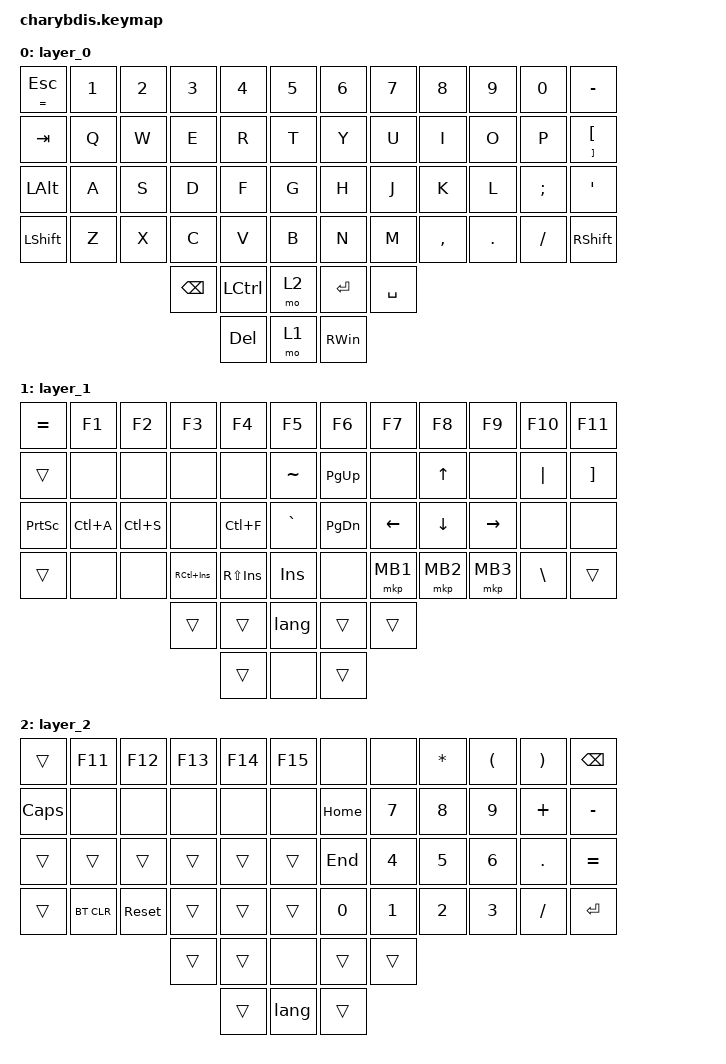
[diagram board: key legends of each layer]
#include <dt-bindings/zmk/mouse.h>
#include <behaviors.dtsi>
#include <dt-bindings/zmk/bt.h>
#include <dt-bindings/zmk/keys.h>
#include <dt-bindings/zmk/pointing.h>

&lt {
    tapping-term-ms = <200>;
    flavor = "balanced";
    quick-tap-ms = <150>;
};

&mt { flavor = "tap-preferred"; };

/ {
    combos { compatible = "zmk,combos"; };

    macros {
        lang: lang {
            compatible = "zmk,behavior-macro";
            #binding-cells = <0>;
            wait-ms = <30>;
            bindings =
                <&macro_press>,
                <&kp LCTRL>,
                <&kp LSHFT>,
                <&macro_release>,
                <&kp LSHFT>,
                <&kp LCTRL>;

            label = "LANG";
        };
    };

    keymap {
        compatible = "zmk,keymap";

        layer_0 {
            bindings = <
&mt EQUAL ESC  &kp N1  &kp N2  &kp N3         &kp N4     &kp N5    &kp N6         &kp N7     &kp N8     &kp N9      &kp N0    &kp MINUS
&kp TAB        &kp Q   &kp W   &kp E          &kp R      &kp T     &kp Y          &kp U      &kp I      &kp O       &kp P     &mt RIGHT_BRACKET LEFT_BRACKET
&kp LEFT_ALT   &kp A   &kp S   &kp D          &kp F      &kp G     &kp H          &kp J      &kp K      &kp L       &kp SEMI  &kp SQT
&kp LSHFT      &kp Z   &kp X   &kp C          &kp V      &kp B     &kp N          &kp M      &kp COMMA  &kp PERIOD  &kp FSLH  &kp RSHFT
                               &kp BACKSPACE  &kp LCTRL  &mo 2     &kp ENTER      &kp SPACE
                                              &kp DEL    &mo 1     &kp RIGHT_WIN
            >;
        };

        layer_1 {
            bindings = <
&kp EQUAL        &kp F1     &kp F2     &kp F3          &kp F4          &kp F5       &kp F6         &kp F7    &kp F8    &kp F9     &kp F10   &kp F11
&trans           &none      &none      &none           &none           &kp TILDE    &kp PG_UP      &none     &kp UP    &none      &kp PIPE  &kp RIGHT_BRACKET
&kp PRINTSCREEN  &kp LC(A)  &kp LC(S)  &none           &kp LC(F)       &kp GRAVE    &kp PAGE_DOWN  &kp LEFT  &kp DOWN  &kp RIGHT  &none     &none
&trans           &none      &none      &kp RC(INSERT)  &kp RS(INSERT)  &kp INS      &none          &mkp MB1  &mkp MB2  &mkp MB3   &kp BSLH  &trans
                                       &trans          &trans          &lang        &trans         &trans
                                                       &trans          &none        &trans
            >;
        };

        layer_2 {
            bindings = <
&trans    &kp F11     &kp F12     &kp F13  &kp F14  &kp F15    &none     &none   &kp ASTERISK  &kp LEFT_PARENTHESIS  &kp RIGHT_PARENTHESIS  &kp BACKSPACE
&kp CAPS  &none       &none       &none    &none    &none      &kp HOME  &kp N7  &kp N8        &kp N9                &kp PLUS               &kp MINUS
&trans    &trans      &trans      &trans   &trans   &trans     &kp END   &kp N4  &kp N5        &kp N6                &kp PERIOD             &kp EQUAL
&trans    &bt BT_CLR  &sys_reset  &trans   &trans   &trans     &kp N0    &kp N1  &kp N2        &kp N3                &kp SLASH              &kp ENTER
                                  &trans   &trans   &none      &trans    &trans
                                           &trans   &lang      &trans
            >;
        };

        /* layer_2 {
            bindings = <
&none  &none   &none    &none   &none         &none         &kp N1         &none         &none     &none  &none   &to 0
&none  &none   &none    &none   &none         &none         &none         &none          &rgb_ug RGB_BRD &rgb_ug RGB_BRI  &rgb_ug RGB_EFF   &rgb_ug RGB_TOG
&none  &none   &none    &none   &none         &none         &none         &mkp LCLK     &mkp RCLK  &none  &none   &none
&none  &none   &none    &none   &bt BT_NXT  &bt BT_CLR    &none         &none         &none     &none  &none   &none
                                   &none         &none         &none         &none         &none
                                                 &none         &none         &none
            >;
          trackball-bindings = <&tsl>;
            
        };

       Mouse {
            bindings = <
&none        &none         &none         &none         &none      &none         &none       &none      &none         &none         &none         &none
&none        &bt BT_SEL 0  &bt BT_SEL 1  &bt BT_SEL 3  &none      &bt BT_CLR    &bt BT_CLR  &none      &bt BT_SEL 2  &bt BT_SEL 1  &bt BT_SEL 0  &none
&none        &trans        &trans        &mkp MCLK     &trans     &none         &none       &trans     &mkp MCLK     &trans        &trans        &none
&bootloader  &trans        &mkp RCLK     &mo 4         &mkp LCLK  &mo 5         &mo 5       &mkp LCLK  &mo 4         &mkp RCLK     &trans        &bootloader
                                         &mo 5         &mkp LCLK  &mkp RCLK     &mkp RCLK   &mkp LCLK
                                                       &none      &trans        &trans
            >;

            
        };

        layer_4 {
            bindings = <
&trans  &trans  &trans     &trans     &trans     &trans       &trans     &trans     &trans     &trans     &trans  &trans
&trans  &trans  &trans     &trans     &trans     &trans       &trans     &trans     &trans     &trans     &trans  &trans
&trans  &trans  &trans     &mkp MCLK  &trans     &trans       &trans     &trans     &mkp MCLK  &trans     &trans  &trans
&trans  &trans  &mkp RCLK  &trans     &mkp LCLK  &trans       &trans     &mkp LCLK  &trans     &mkp RCLK  &trans  &trans
                           &trans     &mkp LCLK  &mkp RCLK    &mkp RCLK  &mkp LCLK
                                      &trans     &trans       &trans
            >;
                
                
                trackball-bindings = <&tsl>;
        };

        layer_5 {
            bindings = <
&trans  &trans  &trans     &trans     &trans     &trans       &trans     &trans     &trans     &trans     &trans  &trans
&trans  &trans  &trans     &trans     &trans     &trans       &trans     &trans     &trans     &trans     &trans  &trans
&trans  &trans  &trans     &mkp MCLK  &trans     &trans       &trans     &trans     &mkp MCLK  &trans     &trans  &trans
&trans  &trans  &mkp RCLK  &trans     &mkp LCLK  &trans       &trans     &mkp LCLK  &trans     &mkp RCLK  &trans  &trans
                           &trans     &mkp LCLK  &mkp RCLK    &mkp RCLK  &mkp LCLK
                                      &trans     &trans       &trans
            >;
                trackball-bindings = <&tmv_fine>;
                
        };*/
    };
};
